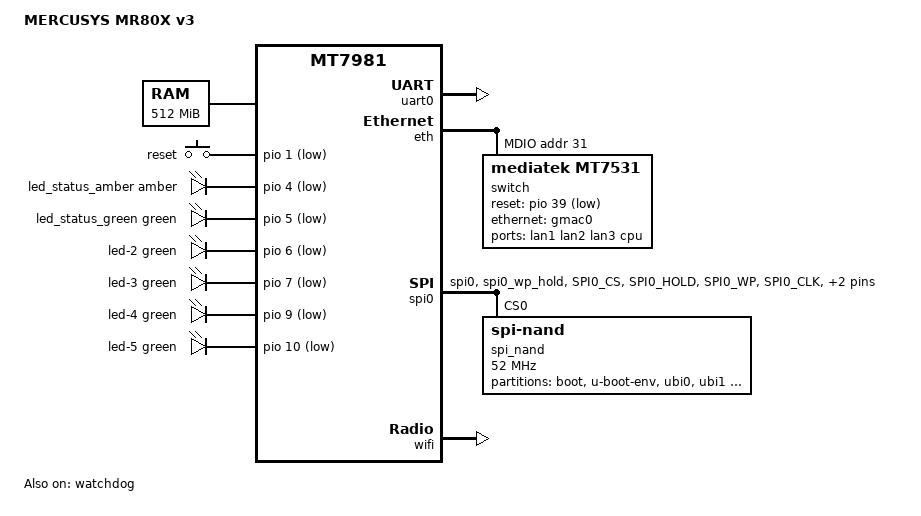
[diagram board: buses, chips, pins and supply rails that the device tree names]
// SPDX-License-Identifier: GPL-2.0

/dts-v1/;
#include <dt-bindings/input/input.h>
#include <dt-bindings/gpio/gpio.h>

#include "mt7981b.dtsi"
/ {
	model = "MERCUSYS MR80X v3";
	compatible = "mercusys,mr80x-v3", "mediatek,mt7981";

	aliases {
		led-boot = &led_status_green;
		led-failsafe = &led_status_amber;
		led-running = &led_status_green;
		led-upgrade = &led_status_green;

		serial0 = &uart0;
	};

	chosen {
		stdout-path = "serial0:115200n8";
	};

	memory@40000000 {
		reg = <0 0x40000000 0 0x20000000>;
		device_type = "memory";
	};

	keys {
		compatible = "gpio-keys";

		button-reset {
			label = "reset";
			linux,code = <KEY_RESTART>;
			gpios = <&pio 1 GPIO_ACTIVE_LOW>;
		};
	};

	leds {
		compatible = "gpio-leds";

		led_status_amber: led-0 {
			color = <LED_COLOR_ID_AMBER>;
			function = LED_FUNCTION_STATUS;
			gpios = <&pio 4 GPIO_ACTIVE_LOW>;
		};

		led_status_green: led-1 {
			color = <LED_COLOR_ID_GREEN>;
			function = LED_FUNCTION_STATUS;
			gpios = <&pio 5 GPIO_ACTIVE_LOW>;
		};

		led-2 {
			color = <LED_COLOR_ID_GREEN>;
			function = LED_FUNCTION_LAN;
			function-enumerator = <1>;
			gpios = <&pio 6 GPIO_ACTIVE_LOW>;
		};

		led-3 {
			color = <LED_COLOR_ID_GREEN>;
			function = LED_FUNCTION_LAN;
			function-enumerator = <2>;
			gpios = <&pio 7 GPIO_ACTIVE_LOW>;
		};

		led-4 {
			color = <LED_COLOR_ID_GREEN>;
			function = LED_FUNCTION_WAN;
			gpios = <&pio 9 GPIO_ACTIVE_LOW>;
		};

		led-5 {
			color = <LED_COLOR_ID_GREEN>;
			function = LED_FUNCTION_LAN;
			function-enumerator = <3>;
			gpios = <&pio 10 GPIO_ACTIVE_LOW>;
		};
	};
};

&uart0 {
	status = "okay";
};

&watchdog {
	status = "okay";
};

&eth {
	status = "okay";

	gmac0: mac@0 {
		compatible = "mediatek,eth-mac";
		reg = <0>;
		phy-mode = "2500base-x";

		fixed-link {
			speed = <2500>;
			full-duplex;
			pause;
		};
	};

	gmac1: mac@1 {
		compatible = "mediatek,eth-mac";
		reg = <1>;
		phy-mode = "gmii";
		phy-handle = <&int_gbe_phy>;
	};

	mdio: mdio-bus {
		#address-cells = <1>;
		#size-cells = <0>;

		switch@1f {
			compatible = "mediatek,mt7531";
			reg = <31>;
			reset-gpios = <&pio 39 GPIO_ACTIVE_LOW>;

			ports {
				#address-cells = <1>;
				#size-cells = <0>;

				port@1 {
					reg = <1>;
					label = "lan1";
				};

				port@2 {
					reg = <2>;
					label = "lan2";
				};

				port@3 {
					reg = <3>;
					label = "lan3";
				};

				port@6 {
					reg = <6>;
					label = "cpu";
					ethernet = <&gmac0>;
					phy-mode = "2500base-x";

					fixed-link {
						speed = <2500>;
						full-duplex;
						pause;
					};
				};
			};
		};
	};
};

&spi0 {
	pinctrl-names = "default";
	pinctrl-0 = <&spi0_flash_pins>;
	status = "okay";

	spi_nand: spi_nand@0 {
		#address-cells = <1>;
		#size-cells = <1>;
		compatible = "spi-nand";
		reg = <0>;
		spi-max-frequency = <52000000>;
		spi-tx-bus-width = <4>;
		spi-rx-bus-width = <4>;

		partitions {
			compatible = "fixed-partitions";
			#address-cells = <1>;
			#size-cells = <1>;

			partition@0 {
				label = "boot";
				reg = <0x00000 0x0200000>;
				read-only;
			};

			partition@200000 {
				label = "u-boot-env";
				reg = <0x0200000 0x0100000>;
			};

			partition@300000 {
				label = "ubi0";
				reg = <0x300000 0x3200000>;
			};

			partition@3500000 {
				label = "ubi1";
				reg = <0x3500000 0x3200000>;
				read-only;
			};

			partition@6700000 {
				label = "userconfig";
				reg = <0x6700000 0x800000>;
				read-only;
			};

			partition@6f00000 {
				label = "tp_data";
				reg = <0x6f00000 0x800000>;
				read-only;
			};
		};
	};
};

&pio {
	spi0_flash_pins: spi0-pins {
		mux {
			function = "spi";
			groups = "spi0", "spi0_wp_hold";
		};

		conf-pu {
			pins = "SPI0_CS", "SPI0_HOLD", "SPI0_WP";
			drive-strength = <MTK_DRIVE_8mA>;
			bias-pull-up = <MTK_PUPD_SET_R1R0_11>;
		};

		conf-pd {
			pins = "SPI0_CLK", "SPI0_MOSI", "SPI0_MISO";
			drive-strength = <MTK_DRIVE_8mA>;
			bias-pull-down = <MTK_PUPD_SET_R1R0_11>;
		};
	};
};

&wifi {
	status = "okay";
};
